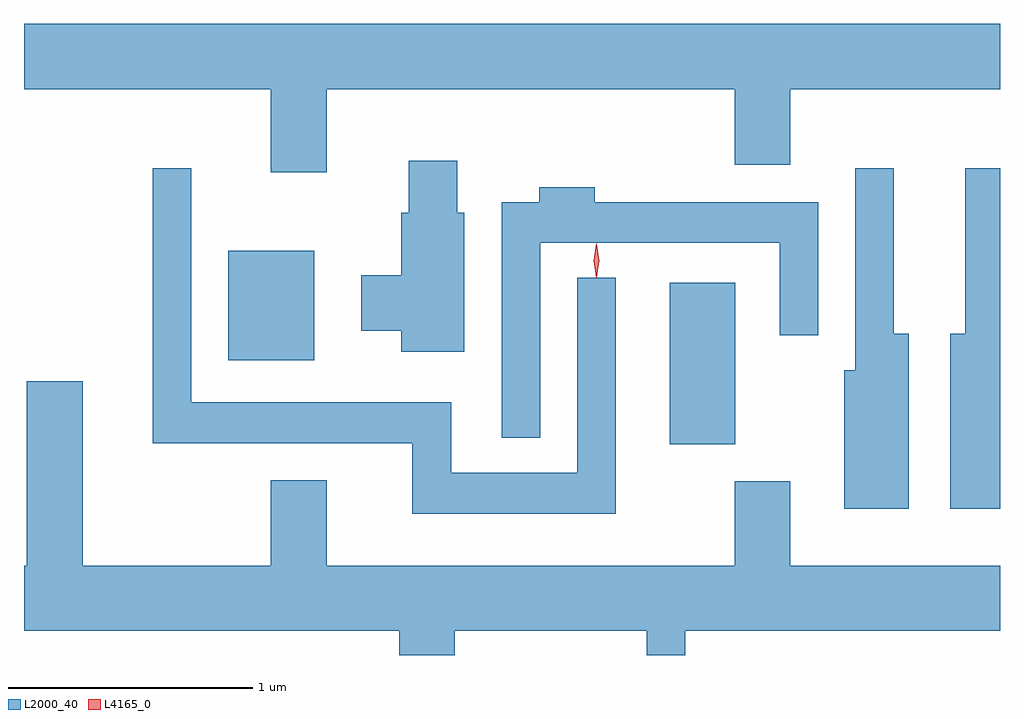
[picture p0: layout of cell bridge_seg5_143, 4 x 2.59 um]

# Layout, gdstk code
import gdstk
lib = gdstk.Library(unit=1e-6, precision=1e-09)
def R(c, l, rs):  # rectangles x0, y0, x1, y1
    for r in rs: c.add(gdstk.rectangle(r[:2], r[2:], *l))
def P(c, l, *ps):  # polygons
    for p in ps: c.add(gdstk.Polygon(p, *l))
L2000_40 = (2000, 40)
L4165_0 = (4165, 0)

bridge_seg5_143 = lib.new_cell('bridge_seg5_143')
R(bridge_seg5_143, L2000_40, [(1209.076,1417.601,1209.344,1418.264), (1207.266,1417.946,1207.619,1418.394)])
P(bridge_seg5_143, L2000_40, [(1207.669,1419.056),(1209.341,1419.056),(1209.341,1418.746),(1209.569,1418.746),(1209.569,1419.056),(1210.429,1419.056),(1210.429,1419.324),(1206.429,1419.324),(1206.429,1419.056),(1207.441,1419.056),(1207.441,1418.716),(1207.669,1418.716)],
  [(1208.234,1418.549),(1208.204,1418.549),(1208.204,1418.764),(1208.006,1418.764),(1208.006,1418.549),(1207.976,1418.549),(1207.976,1418.294),(1207.811,1418.294),(1207.811,1418.066),(1207.976,1418.066),(1207.976,1417.981),(1208.234,1417.981)],
  [(1210.054,1418.054),(1209.994,1418.054),(1209.994,1418.733),(1209.836,1418.733),(1209.836,1417.904),(1209.791,1417.904),(1209.791,1417.336),(1210.054,1417.336)],
  [(1210.429,1418.733),(1210.286,1418.733),(1210.286,1418.054),(1210.226,1418.054),(1210.226,1417.336),(1210.429,1417.336)],
  [(1208.854,1418.283),(1208.696,1418.283),(1208.696,1417.484),(1208.179,1417.484),(1208.179,1417.774),(1207.114,1417.774),(1207.114,1418.733),(1206.956,1418.733),(1206.956,1417.606),(1208.021,1417.606),(1208.021,1417.316),(1208.854,1417.316)],
  [(1208.544,1418.426),(1209.526,1418.426),(1209.526,1418.048),(1209.684,1418.048),(1209.684,1418.594),(1208.769,1418.594),(1208.769,1418.654),(1208.541,1418.654),(1208.541,1418.594),(1208.386,1418.594),(1208.386,1417.628),(1208.544,1417.628)],
  [(1208.194,1416.836),(1208.981,1416.836),(1208.981,1416.737),(1209.139,1416.737),(1209.139,1416.836),(1210.429,1416.836),(1210.429,1417.104),(1209.569,1417.104),(1209.569,1417.449),(1209.341,1417.449),(1209.341,1417.104),(1207.669,1417.104),(1207.669,1417.454),(1207.441,1417.454),(1207.441,1417.104),(1206.669,1417.104),(1206.669,1417.859),(1206.441,1417.859),(1206.441,1417.104),(1206.429,1417.104),(1206.429,1416.836),(1207.966,1416.836),(1207.966,1416.737),(1208.194,1416.737)])
P(bridge_seg5_143, L4165_0, [(1208.775,1418.284),(1208.775,1418.284),(1208.765,1418.353),(1208.775,1418.423),(1208.775,1418.423),(1208.776,1418.423),(1208.785,1418.353),(1208.776,1418.284)],
  [(1208.776,1418.287),(1208.776,1418.288),(1208.766,1418.354),(1208.776,1418.42),(1208.776,1418.421),(1208.777,1418.42),(1208.786,1418.354),(1208.777,1418.288)])

lib.write_gds('bridge_seg5_143.gds')
